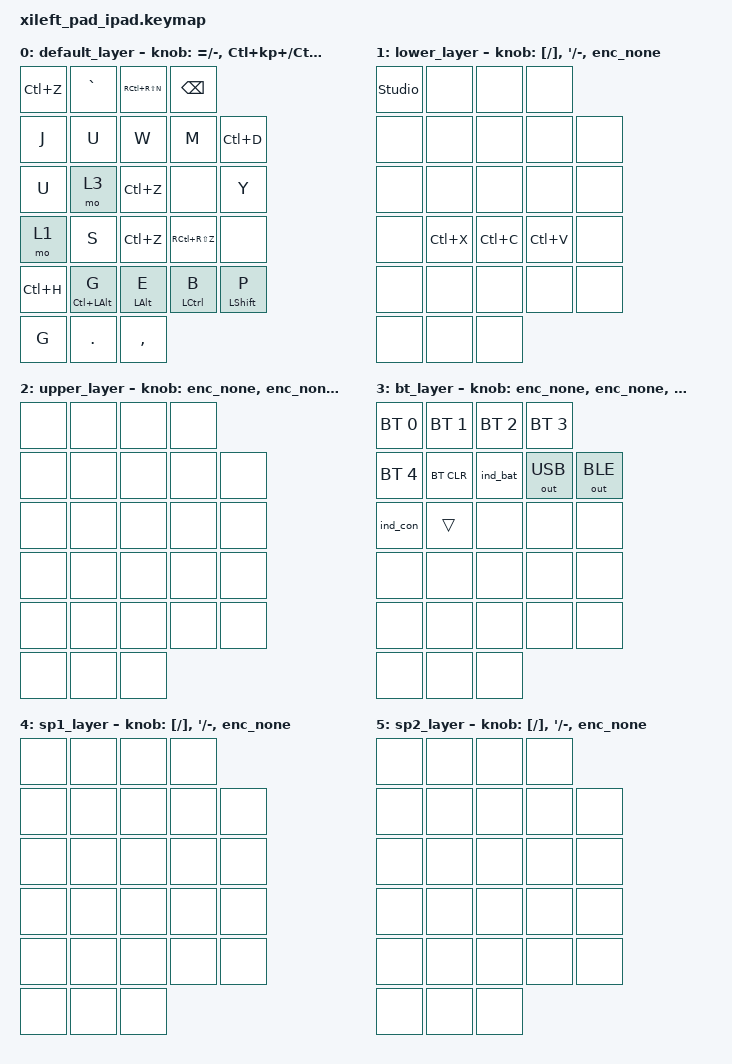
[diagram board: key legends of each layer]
/*
 * Copyright (c) 2026 Xiphelier
 * SPDX-License-Identifier: MIT
 *
 * xileft pad ― iPad 版キーマップ（クリスタ用・左手キーパッド）
 *
 * 通常版 (xileft_pad.keymap) との違いは 2 点だけ:
 *
 *   1. マウス機能を持たない
 *      iPad は HID のマウスを繋ぐとポインタが常時表示されるなど扱いが
 *      変わるため、CONFIG_ZMK_POINTING ごと無効にしている
 *      (config/xileft_pad_ipad.conf)。これに伴い、
 *        - BASE row 3 左端の LT(1, MS_BTN2) 相当 -> &mo 1（レイヤ切替のみ）
 *        - エンコーダ2のホイール -> Ctrl + テンキー +/-（クリスタのズーム）
 *      に置き換えた。&mkp / &msc は POINTING 無効時に存在しないため、
 *      それらを参照する behavior もこのファイルには定義していない。
 *
 *   2. それ以外は Vial 版 xileft_pad_v3 と同じ配列
 *      BT レイヤへの入口 (BASE row 2 の &mo 3) だけは Vial 版に無い追加。
 *      無線機なので、プロファイル切替とペアリング消去の手段は必須。
 *
 * ★ 修飾キーについて
 *   ズームもコピペも Ctrl 修飾で書いてある。iPadOS 側の設定やアプリに
 *   よっては Command が要求されることがある。その場合は該当箇所の
 *   LC(...) を LG(...) に置き換えること（LG = Left GUI = Command）。
 */

#include <behaviors.dtsi>
#include <dt-bindings/zmk/keys.h>
#include <dt-bindings/zmk/bt.h>
#include <dt-bindings/zmk/outputs.h>
/*
 * LED ステータス表示（zmk-rgbled-widget）の behavior。
 * &ind_bat = 電池残量を色で表示 / &ind_con = 接続状態を色で表示。
 * BT プロファイル切替時の点灯はモジュールが自動でやるので、
 * キーマップ側に書くことはない。
 */
#include <behaviors/rgbled_widget.dtsi>

/ {
    behaviors {
        /*
         * 未使用エンコーダ用のプレースホルダ。
         * &none は #sensor-binding-cells を持たないため sensor-bindings には直接書けない。
         */
        enc_none: sensor_rotate_none {
            compatible = "zmk,behavior-sensor-rotate";
            #sensor-binding-cells = <0>;
            bindings = <&none>, <&none>;
        };
    };

    keymap {
        compatible = "zmk,keymap";

        default_layer {   // BASE
            bindings = <
                &kp LC(Z)       &kp GRAVE       &kp RC(RS(N))   &kp BSPC   // row 0
                &kp J           &kp U           &kp W           &kp M           &kp LC(D)   // row 1
                &kp U           &mo 3           &kp LC(Z)       &none           &kp Y   // row 2  (&mo 3 = 押している間 BT レイヤ)
                &mo 1           &kp S           &kp LC(Z)       &kp RC(RS(Z))   &none   // row 3  (通常版の LT(1,MS_BTN2) 相当。iPad 版はレイヤ切替のみ)
                &kp LC(H)       &mt LC(LALT) G  &mt LALT E      &mt LCTRL B     &mt LSHFT P   // row 4
                &kp G           &kp DOT         &kp COMMA   // levers
            >;

            sensor-bindings = <
                &inc_dec_kp EQUAL MINUS                     // encoder 1
                &inc_dec_kp LC(KP_PLUS) LC(KP_MINUS)        // encoder 2 (元ホイール。クリスタのズームイン/アウト)
                &inc_dec_kp RBKT BSLH                       // encoder 3
            >;
        };

        lower_layer {   // LOWER  (&mo 1 で保持)
            bindings = <
                &studio_unlock  &none           &none           &none   // row 0
                &none           &none           &none           &none           &none   // row 1
                &none           &none           &none           &none           &none   // row 2
                &none           &kp LC(X)       &kp LC(C)       &kp LC(V)       &none   // row 3
                &none           &none           &none           &none           &none   // row 4
                &none           &none           &none   // levers
            >;

            sensor-bindings = <
                &inc_dec_kp LBKT RBKT             // encoder 1
                &inc_dec_kp SQT MINUS             // encoder 2
                &enc_none                         // encoder 3
            >;
        };

        upper_layer {   // UPPER  (現状ここへ遷移するキーは未割り当て)
            bindings = <
                &none  &none  &none  &none   // row 0
                &none  &none  &none  &none  &none   // row 1
                &none  &none  &none  &none  &none   // row 2
                &none  &none  &none  &none  &none   // row 3
                &none  &none  &none  &none  &none   // row 4
                &none  &none  &none   // levers
            >;

            sensor-bindings = <
                &enc_none                         // encoder 1
                &enc_none                         // encoder 2
                &enc_none                         // encoder 3
            >;
        };

        bt_layer {   // BT。BASE の &mo 3 を押している間だけ有効
            bindings = <
                &bt BT_SEL 0    &bt BT_SEL 1    &bt BT_SEL 2    &bt BT_SEL 3   // row 0: 接続先プロファイル 1-4
                &bt BT_SEL 4    &bt BT_CLR      &ind_bat        &out OUT_USB    &out OUT_BLE   // row 1: プロファイル5 / ペアリング消去 / 電池残量表示 / 出力切替
                &ind_con        &trans          &none           &none           &none   // row 2  (&ind_con = 接続状態表示、&trans = レイヤキー自身の位置)
                &none           &none           &none           &none           &none   // row 3
                &none           &none           &none           &none           &none   // row 4
                &none           &none           &none   // levers
            >;

            sensor-bindings = <
                &enc_none                         // encoder 1
                &enc_none                         // encoder 2
                &enc_none                         // encoder 3
            >;
        };

        sp1_layer {   // SP1    (未使用の予備)
            bindings = <
                &none  &none  &none  &none   // row 0
                &none  &none  &none  &none  &none   // row 1
                &none  &none  &none  &none  &none   // row 2
                &none  &none  &none  &none  &none   // row 3
                &none  &none  &none  &none  &none   // row 4
                &none  &none  &none   // levers
            >;

            sensor-bindings = <
                &inc_dec_kp LBKT RBKT             // encoder 1
                &inc_dec_kp SQT MINUS             // encoder 2
                &enc_none                         // encoder 3
            >;
        };

        sp2_layer {   // SP2    (未使用の予備)
            bindings = <
                &none  &none  &none  &none   // row 0
                &none  &none  &none  &none  &none   // row 1
                &none  &none  &none  &none  &none   // row 2
                &none  &none  &none  &none  &none   // row 3
                &none  &none  &none  &none  &none   // row 4
                &none  &none  &none   // levers
            >;

            sensor-bindings = <
                &inc_dec_kp LBKT RBKT             // encoder 1
                &inc_dec_kp SQT MINUS             // encoder 2
                &enc_none                         // encoder 3
            >;
        };
    };
};
